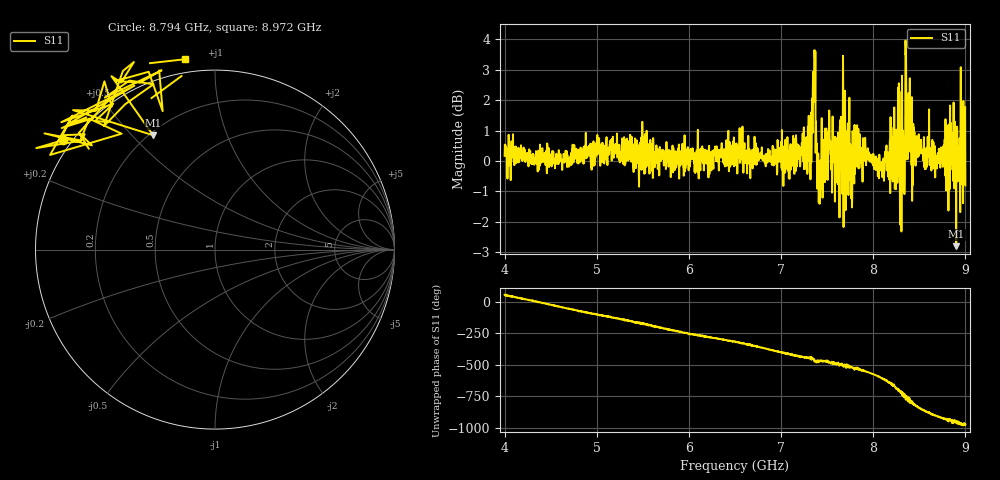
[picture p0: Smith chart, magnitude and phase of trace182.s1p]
! Created with skrf 1.8.0 (http://scikit-rf.org).
# Hz S RI R 50.0
!freq ReS11 ImS11
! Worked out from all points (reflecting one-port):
!   1601 points, 4 GHz to 9 GHz, reference 50 ohm
!   lowest |S11| = -2.8 dB at 8.9 GHz (marker M1), VSWR 6.27, Z = 10.7 + j28.8 ohm
!   phase of S11 starts at 53 deg and turns -1028 deg over the sweep
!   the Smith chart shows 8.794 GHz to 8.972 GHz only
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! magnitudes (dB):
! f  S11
! 4 GHz  0.2
! 4.625 GHz  -0.3
! 5.156 GHz  0.7
! 5.25 GHz  0.0
! 5.875 GHz  -0.1
! 6.5 GHz  0.2
! 7.125 GHz  0.3
! 7.297 GHz  0.7
! 7.347 GHz  2.9
! 7.369 GHz  1.9
! 7.4 GHz  -0.4
! 7.409 GHz  -1.4
! 7.509 GHz  0.4
! 7.609 GHz  0.6
! 7.669 GHz  0.6
! 7.75 GHz  0.6
! 7.769 GHz  -1.5
! 7.822 GHz  -0.2
! 8.097 GHz  0.0
! 8.262 GHz  -0.7
! 8.316 GHz  0.4
! 8.334 GHz  0.5
! 8.347 GHz  1.0
! 8.375 GHz  0.1
! 8.447 GHz  0.9
! 8.9 GHz  -2.8
! 8.972 GHz  0.6
! 9 GHz  -0.8
